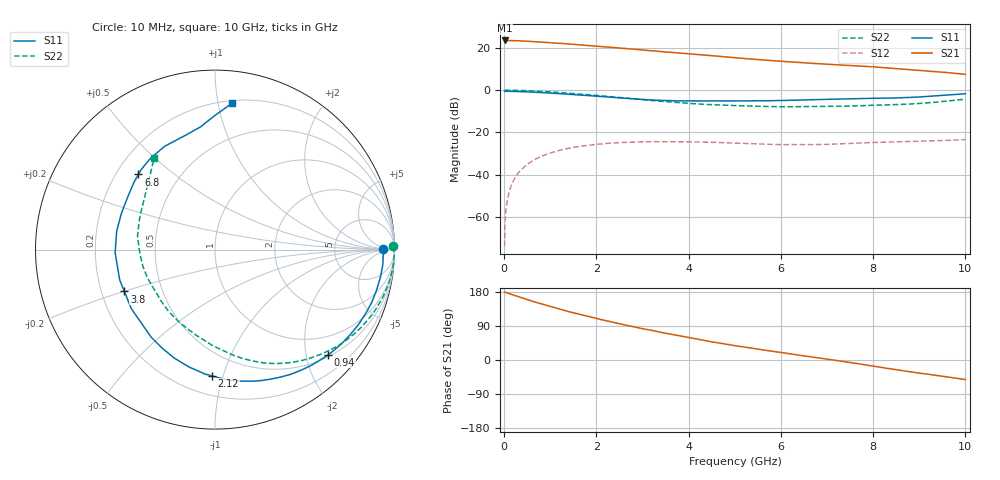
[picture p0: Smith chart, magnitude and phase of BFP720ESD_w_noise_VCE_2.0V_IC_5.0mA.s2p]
! Infineon Technologies  Discrete & RF Semiconductors
! BFP720ESD
! VCE =  2.0 V,  IC =  5.0 mA
! Common Emitter S-Parameters:  Jan 2016
# GHz  S  MA  R  50
!  f  S11  S21  S12  S22
! GHz  MAG  ANG  MAG  ANG  MAG  ANG  MAG  ANG
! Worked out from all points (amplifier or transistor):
!   233 points, 10 MHz to 10 GHz, reference 50 ohm
!   highest |S21| = 23.6 dB at 10 MHz (marker M1)
!   |S21| within 3 dB of that: start of sweep to 2.165 GHz
!   unconditionally stable (mu >= 1): 5.808 GHz to 9.414 GHz
!   at 200 MHz: K = 0.05, MSG = 33.2 dB, |S12| = -43.0 dB
!   at 1.74 GHz: K = 0.26, MSG = 23.8 dB, |S12| = -26.4 dB
!   at 10 GHz: K = 0.74, MSG = 15.5 dB, |S12| = -23.5 dB
!   lowest NFmin = 0.54 dB at 450 MHz
!   S11 on the Smith chart (normalised r, x): 10 MHz: 31, +3; 940 MHz: 0.54, -2.44; 2.12 GHz: 0.33, -0.92; 3.8 GHz: 0.30, -0.20; 6.8 GHz: 0.29, +0.38; 10 GHz: 0.22, +1.10
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0.01  0.9381 0.3  15.06 179.4  0.0002 -174.2  0.9937 1.0
0.02  0.9417 -0.9  14.95 179.0  0.0008 93.0  0.9969 -0.4
0.04  0.9385 -1.8  14.93 178.0  0.0015 87.4  0.9979 -1.1
0.185  0.935 -8.6  14.95 172.0  0.0066 83.7  0.995 -6.0
0.36  0.9237 -16.8  14.7 164.9  0.0126 78.5  0.984 -11.6
0.6  0.9014 -27.8  14.23 155.4  0.0206 71.1  0.9602 -19.1
0.94  0.8599 -42.9  13.5 143.3  0.0307 61.1  0.9161 -29.2
1.3  0.8133 -58.6  12.67 131.0  0.0398 51.4  0.8615 -39.4
1.68  0.7614 -74.2  11.76 119.0  0.0471 42.2  0.8011 -49.3
2.12  0.7039 -91.4  10.75 106.3  0.0533 32.9  0.7323 -59.9
2.4  0.6698 -102.5  10.18 98.4  0.0564 27.4  0.688 -66.6
2.78  0.624 -117.7  9.395 88.2  0.0588 20.3  0.6267 -75.6
3.4  0.5724 -140.8  8.215 73.1  0.0599 11.2  0.5446 -89.2
3.8  0.5563 -155.2  7.571 63.9  0.0597 6.5  0.5033 -98.1
4.5  0.5567 -178.2  6.572 47.9  0.0581 -0.7  0.4524 -115.6
5.1  0.5562 167.3  5.757 36.1  0.055 -4.2  0.4277 -128.3
6  0.568 148.8  4.846 19.7  0.0511 -5.2  0.4049 -146.5
6.8  0.5978 135.5  4.243 5.8  0.0514 -3.2  0.4093 -163.1
7.6  0.6255 123.2  3.791 -8.4  0.055 -2.3  0.423 179.4
8.4  0.6496 107.8  3.296 -23.8  0.0589 -4.4  0.4504 160.0
9  0.6885 96.7  2.944 -34.6  0.0615 -6.0  0.4824 145.4
10  0.82 83.4  2.365 -51.8  0.0671 -9.6  0.6128 123.6
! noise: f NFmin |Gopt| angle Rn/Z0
0.45  0.54  0.48  5  0.15
0.9  0.58  0.47  13  0.15
1.9  0.62  0.41  32  0.14
2.4  0.67  0.38  38  0.14
5.5  0.9  0.17  118  0.09
10  1.55  0.55  -99  0.38
